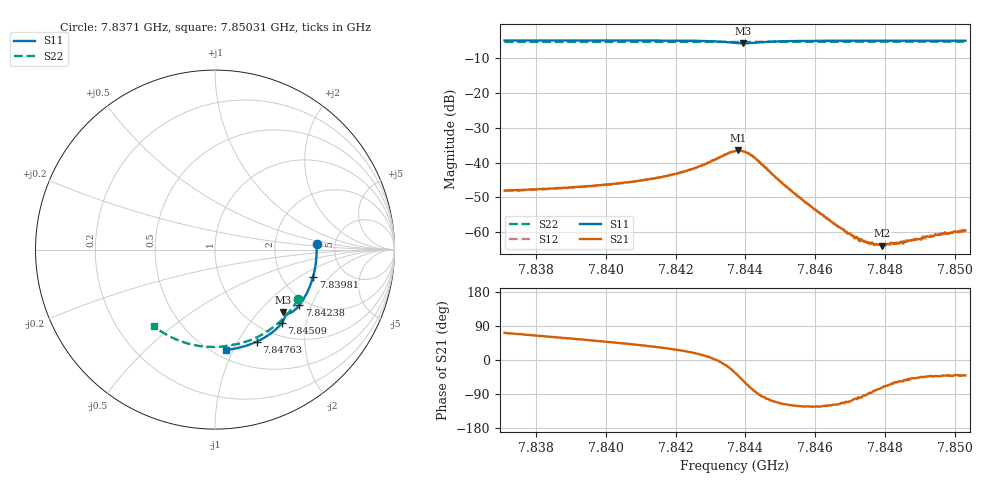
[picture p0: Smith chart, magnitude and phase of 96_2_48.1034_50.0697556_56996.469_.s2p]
#  HZ  S  RI  R  50.00
! Rohde & Schwarz Vector Network Analyzer
! Rohde-Schwarz,ZNB20-2Port,1311601062101988,3.16
! Created: UTC 12/23/2023, 3:44:17 AM
! freq[Hz]  re:S11  im:S11  re:S21  im:S21  re:S12  im:S12  re:S22  im:S22
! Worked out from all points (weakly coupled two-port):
!   401 points, 7.8371 GHz to 7.85031 GHz, reference 50 ohm
!   highest |S21| = -36.54 dB at 7.8438 GHz (marker M1); lowest = -63.9 dB at 7.84793 GHz (marker M2)
!   lowest |S11| = -5.7 dB at 7.84394 GHz (marker M3), VSWR 3.13, Z = 72.7 - j69 ohm
!   |S11| at or under -10 dB: nowhere
!   |S22| runs from -5.4 to -5.3 dB; largest |S21 - S12| = 0.00031
!   S11 on the Smith chart (normalised r, x): 7.8371 GHz: 3.58, +0.30; 7.83981 GHz: 2.97, -1.32; 7.84238 GHz: 1.81, -1.64; 7.84509 GHz: 1.24, -1.46; 7.84763 GHz: 0.80, -1.20; 7.85031 GHz: 0.57, -0.94
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7.837103e9  0.5656 0.0288  0.00125 0.00377  0.00131 0.00368  0.4635 -0.2764
7.839315e9  0.5544 -0.118  0.00264 0.00363  0.00261 0.00359  0.3667 -0.397
7.83981e9  0.5467 -0.1503  0.00306 0.0036  0.00299 0.00362  0.3407 -0.4198
7.840866e9  0.5228 -0.2179  0.00411 0.00351  0.00407 0.00346  0.2804 -0.4629
7.841526e9  0.5028 -0.259  0.00508 0.00337  0.00508 0.00337  0.2398 -0.4852
7.842385e9  0.4688 -0.3107  0.00728 0.00285  0.00719 0.00285  0.1842 -0.5091
7.84321e9  0.4201 -0.3527  0.0115 -0.00029  0.0115 -0.000294  0.1285 -0.5251
7.843705e9  0.3849 -0.3552  0.0122 -0.00805  0.0123 -0.0079  0.0951 -0.5307
7.843804e9  0.3815 -0.352  0.0111 -0.00998  0.0111 -0.00971  0.0889 -0.5317
7.843936e9  0.3806 -0.3482  0.00846 -0.0117  0.00855 -0.0117  0.0806 -0.5329
7.844068e9  0.3835 -0.3473  0.00558 -0.0125  0.00553 -0.0126  0.0721 -0.5345
7.844266e9  0.3888 -0.3533  0.00157 -0.0116  0.00146 -0.0116  0.0594 -0.5371
7.845092e9  0.3734 -0.4076  -0.00212 -0.00437  -0.00212 -0.00443  0.00165 -0.5428
7.845917e9  0.3323 -0.4506  -0.00126 -0.00189  -0.00127 -0.00192  -0.0565 -0.5408
7.84661e9  0.2934 -0.4791  -0.000576 -0.00111  -0.000576 -0.00111  -0.1049 -0.534
7.847204e9  0.2585 -0.4998  -0.000191 -0.000803  -0.000164 -0.000835  -0.1455 -0.5248
7.847633e9  0.2324 -0.5126  5.66e-05 -0.000705  6.67e-05 -0.000678  -0.1744 -0.5161
7.847931e9  0.2144 -0.5206  0.000203 -0.000607  0.000185 -0.000629  -0.194 -0.5092
7.848129e9  0.2019 -0.5256  0.000282 -0.000617  0.000298 -0.000585  -0.207 -0.5043
7.848558e9  0.1748 -0.5351  0.000446 -0.00057  0.000476 -0.000575  -0.2345 -0.4923
7.849482e9  0.1152 -0.551  0.000678 -0.000612  0.000622 -0.000587  -0.2914 -0.4614
7.850307e9  0.061 -0.5593  0.000797 -0.000691  0.000822 -0.000701  -0.3391 -0.4283
